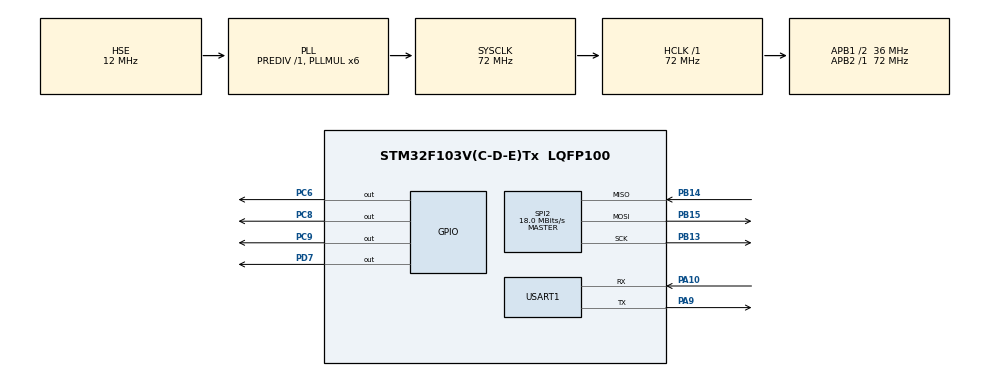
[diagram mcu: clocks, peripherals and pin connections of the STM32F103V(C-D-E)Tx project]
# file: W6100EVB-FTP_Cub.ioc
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Mcu.Family=STM32F1
Mcu.Name=STM32F103V(C-D-E)Tx
Mcu.Package=LQFP100
NVIC.PriorityGroup=NVIC_PRIORITYGROUP_4
NVIC.USART1_IRQn=true\:0\:0\:false\:false\:true\:true\:true\:true
OSC_IN.Mode=HSE-External-Oscillator
OSC_IN.Signal=RCC_OSC_IN
OSC_OUT.Mode=HSE-External-Oscillator
OSC_OUT.Signal=RCC_OSC_OUT
PA10.Mode=Asynchronous
PA10.Signal=USART1_RX
PA13.Mode=Serial_Wire
PA13.Signal=SYS_JTMS-SWDIO
PA14.Mode=Serial_Wire
PA14.Signal=SYS_JTCK-SWCLK
PA9.Mode=Asynchronous
PA9.Signal=USART1_TX
PB13.Mode=Full_Duplex_Master
PB13.Signal=SPI2_SCK
PB14.Mode=Full_Duplex_Master
PB14.Signal=SPI2_MISO
PB15.Mode=Full_Duplex_Master
PB15.Signal=SPI2_MOSI
PC6.Signal=GPIO_Output
PC8.Signal=GPIO_Output
PC9.Signal=GPIO_Output
PD7.Signal=GPIO_Output
ProjectManager.HeapSize=0x200
ProjectManager.StackSize=0x400
ProjectManager.TargetToolchain=STM32CubeIDE
RCC.AHBFreq_Value=72000000
RCC.APB1CLKDivider=RCC_HCLK_DIV2
RCC.APB1Freq_Value=36000000
RCC.APB1TimFreq_Value=72000000
RCC.APB2Freq_Value=72000000
RCC.APB2TimFreq_Value=72000000
RCC.HCLKFreq_Value=72000000
RCC.HSE_VALUE=12000000
RCC.PLLMUL=RCC_PLL_MUL6
RCC.PLLSourceVirtual=RCC_PLLSOURCE_HSE
RCC.SYSCLKFreq_VALUE=72000000
RCC.SYSCLKSource=RCC_SYSCLKSOURCE_PLLCLK
RCC.USBFreq_Value=72000000
SPI2.BaudRatePrescaler=SPI_BAUDRATEPRESCALER_2
SPI2.CalculateBaudRate=18.0 MBits/s
SPI2.Direction=SPI_DIRECTION_2LINES
SPI2.Mode=SPI_MODE_MASTER
SPI2.VirtualType=VM_MASTER
USART1.VirtualMode=VM_ASYNC
VP_RTC_VS_RTC_Activate.Mode=RTC_Enabled
board=custom

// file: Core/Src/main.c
/* USER CODE BEGIN Header */
/**
  ******************************************************************************
  * @file           : main.c
  * @brief          : Main program body
  ******************************************************************************
  * @attention
  *
  * Copyright (c) 2022 STMicroelectronics.
  * All rights reserved.
  *
  * This software is licensed under terms that can be found in the LICENSE file
  * in the root directory of this software component.
  * If no LICENSE file comes with this software, it is provided AS-IS.
  *
  ******************************************************************************
  */
/* USER CODE END Header */
#include "main.h"

/* USER CODE BEGIN Includes */

#include "wizchip_conf.h"
#include "W6100.h"

#include "ftpd.h"
#include "Application.h"
#include "wizchip_init.h"
/* USER CODE END Includes */

/* USER CODE BEGIN PTD */
#define True_STD
/* USER CODE END PTD */

RTC_HandleTypeDef hrtc;

SPI_HandleTypeDef hspi2;

UART_HandleTypeDef huart1;

/* USER CODE BEGIN PV */
wiz_NetInfo gWIZNETINFO = { .mac = {0x00,0x08,0xdc,0xff,0xff,0xff},
							.ip = {192,168,50,125},
							.sn = {255, 255, 255, 0},
							.gw = {192, 168, 0, 1},
							.dns = {168, 126, 63, 1},
							.lla = {0xfe,0x80, 0x00,0x00,
								 0x00,0x00, 0x00,0x00,
								 0x02,0x08, 0xdc,0xff,
								 0xfe,0xff, 0xff,0xff},
				            .gua={0x20,0x01,0x02,0xb8,
								 0x00,0x10,0x00,0x01,
								 0x02,0x08,0xdc,0xff,
								 0xfe,0xff,0xff,0xff},
				            .sn6={0xff,0xff,0xff,0xff,
								 0xff,0xff,0xff,0xff,
								 0x00,0x00,0x00, 0x00,
								 0x00,0x00,0x00,0x00},
				            .gw6={0xfe, 0x80, 0x00,0x00,
								  0x00,0x00,0x00,0x00,
								  0x02,0x00, 0x87,0xff,
								  0xfe,0x08, 0x4c,0x81}
							};

uint8_t WIZ_Dest_IP[4] = {192, 168, 50, 59};                  //DST_IP Address

uint8_t DestIP6_L[16] = {0xfe,0x80, 0x00,0x00,
						  0x00,0x00, 0x00,0x00,
                          0x31,0x71,0x98,0x05,
                          0x70,0x24,0x4b,0xb1
						};

uint8_t DestIP6_G[16] = {0x20,0x01,0x02,0xb8,
                          0x00,0x10,0x00,0x01,
                          0x31,0x71,0x98,0x05,
                          0x70,0x24,0x4b,0xb1
                         };

uint8_t Router_IP[16]= {0xff,0x02,0x00,0x00,
                          0x00,0x00,0x00,0x00,
                          0x00,0x00,0x00,0x00,
                          0x00,0x00,0x00,0x02
                         };
uint8_t data_buf[2048];
uint8_t gFTPBUF[_FTP_MAX_MSG_SIZE_];
void print_network_information(void);
/* USER CODE END PV */

void SystemClock_Config(void);
static void MX_GPIO_Init(void);
static void MX_RTC_Init(void);
static void MX_SPI2_Init(void);
static void MX_USART1_UART_Init(void);
/* USER CODE BEGIN PFP */
uint8_t rxData[2];
#ifdef KEIL
     #ifdef __GNUC__
     //With GCC, small printf (option LD Linker->Libraries->Small printf
     //set to 'Yes') calls __io_putchar()
         #define PUTCHAR_PROTOTYPE int __io_putchar(int ch)
		#else
				 #define PUTCHAR_PROTOTYPE int fputc(int ch, FILE *f)
		#endif /* __GNUC__*/
#endif

#ifdef True_STD
	int _write(int fd, char *str, int len)
	{
		for(int i=0; i<len; i++)
		{
			HAL_UART_Transmit(&huart1, (uint8_t *)&str[i], 1, 0xFFFF);
		}
		return len;
	}
#endif

void HAL_UART_RxCpltCallback(UART_HandleTypeDef *huart) {

    /*
        This will be called once data is received successfully,
        via interrupts.
    */

     /*
       loop back received data
     */
     HAL_UART_Receive_IT(&huart1, rxData, 1);
     HAL_UART_Transmit(&huart1, rxData, 1, 1000);
}
/* USER CODE END PFP */

int main(void)
{
  /* USER CODE BEGIN 1 */
  uint8_t syslock = SYS_NET_LOCK;
  uint8_t LED = 0;
  uint16_t LED_count = 0;
  /* USER CODE END 1 */

  /* MCU Configuration--------------------------------------------------------*/

  /* Reset of all peripherals, Initializes the Flash interface and the Systick. */
  HAL_Init();

  /* Configure the system clock */
  SystemClock_Config();

  /* Initialize all configured peripherals */
  MX_GPIO_Init();
  MX_RTC_Init();
  MX_SPI2_Init();
  MX_USART1_UART_Init();
  /* USER CODE BEGIN 2 */
  HAL_UART_Receive_IT(&huart1, rxData, 1);

  printf("< W6100EVB Hal Driver FTP TEST!! >\n");
  HAL_GPIO_WritePin(GPIOC, GPIO_PIN_6, GPIO_PIN_SET);
  HAL_GPIO_WritePin(GPIOC, GPIO_PIN_8, GPIO_PIN_SET);
  HAL_GPIO_WritePin(GPIOC, GPIO_PIN_9, GPIO_PIN_SET);
  W6100Initialze();
  ctlwizchip(CW_SYS_UNLOCK,& syslock);
  ctlnetwork(CN_SET_NETINFO,&gWIZNETINFO);

  printf("VERSION(%x) = %.2x \r\n", _VER_,getVER());
  print_network_information();
  ftpd_init("user10", "pass10", 21);
  /* USER CODE END 2 */

  /* Infinite loop */
  /* USER CODE BEGIN WHILE */
  while (1)
  {
	  ftpd_run(gFTPBUF);
	  if(LED_count > 2000)
	  {
		  LED_count = 0;
		  if(LED == 0)
		  {
			  HAL_GPIO_WritePin(GPIOC, GPIO_PIN_6, GPIO_PIN_SET);
		  }
		  else
		  {
			  HAL_GPIO_WritePin(GPIOC, GPIO_PIN_6, GPIO_PIN_RESET);
		  }
	  }
	  LED_count++;
    /* USER CODE END WHILE */

  }
}

void SystemClock_Config(void)
{
  RCC_OscInitTypeDef RCC_OscInitStruct = {0};
  RCC_ClkInitTypeDef RCC_ClkInitStruct = {0};
  RCC_PeriphCLKInitTypeDef PeriphClkInit = {0};

  /** Initializes the RCC Oscillators according to the specified parameters
  * in the RCC_OscInitTypeDef structure.
  */
  RCC_OscInitStruct.OscillatorType = RCC_OSCILLATORTYPE_LSI|RCC_OSCILLATORTYPE_HSE;
  RCC_OscInitStruct.HSEState = RCC_HSE_ON;
  RCC_OscInitStruct.HSEPredivValue = RCC_HSE_PREDIV_DIV1;
  RCC_OscInitStruct.HSIState = RCC_HSI_ON;
  RCC_OscInitStruct.LSIState = RCC_LSI_ON;
  RCC_OscInitStruct.PLL.PLLState = RCC_PLL_ON;
  RCC_OscInitStruct.PLL.PLLSource = RCC_PLLSOURCE_HSE;
  RCC_OscInitStruct.PLL.PLLMUL = RCC_PLL_MUL6;
  if (HAL_RCC_OscConfig(&RCC_OscInitStruct) != HAL_OK)
  {
    Error_Handler();
  }

  /** Initializes the CPU, AHB and APB buses clocks
  */
  RCC_ClkInitStruct.ClockType = RCC_CLOCKTYPE_HCLK|RCC_CLOCKTYPE_SYSCLK
                              |RCC_CLOCKTYPE_PCLK1|RCC_CLOCKTYPE_PCLK2;
  RCC_ClkInitStruct.SYSCLKSource = RCC_SYSCLKSOURCE_PLLCLK;
  RCC_ClkInitStruct.AHBCLKDivider = RCC_SYSCLK_DIV1;
  RCC_ClkInitStruct.APB1CLKDivider = RCC_HCLK_DIV2;
  RCC_ClkInitStruct.APB2CLKDivider = RCC_HCLK_DIV1;

  if (HAL_RCC_ClockConfig(&RCC_ClkInitStruct, FLASH_LATENCY_2) != HAL_OK)
  {
    Error_Handler();
  }
  PeriphClkInit.PeriphClockSelection = RCC_PERIPHCLK_RTC;
  PeriphClkInit.RTCClockSelection = RCC_RTCCLKSOURCE_LSI;
  if (HAL_RCCEx_PeriphCLKConfig(&PeriphClkInit) != HAL_OK)
  {
    Error_Handler();
  }
}

static void MX_RTC_Init(void)
{

  /** Initialize RTC Only
  */
  hrtc.Instance = RTC;
  hrtc.Init.AsynchPrediv = RTC_AUTO_1_SECOND;
  hrtc.Init.OutPut = RTC_OUTPUTSOURCE_ALARM;
  if (HAL_RTC_Init(&hrtc) != HAL_OK)
  {
    Error_Handler();
  }

}

static void MX_SPI2_Init(void)
{

  /* SPI2 parameter configuration*/
  hspi2.Instance = SPI2;
  hspi2.Init.Mode = SPI_MODE_MASTER;
  hspi2.Init.Direction = SPI_DIRECTION_2LINES;
  hspi2.Init.DataSize = SPI_DATASIZE_8BIT;
  hspi2.Init.CLKPolarity = SPI_POLARITY_LOW;
  hspi2.Init.CLKPhase = SPI_PHASE_1EDGE;
  hspi2.Init.NSS = SPI_NSS_SOFT;
  hspi2.Init.BaudRatePrescaler = SPI_BAUDRATEPRESCALER_2;
  hspi2.Init.FirstBit = SPI_FIRSTBIT_MSB;
  hspi2.Init.TIMode = SPI_TIMODE_DISABLE;
  hspi2.Init.CRCCalculation = SPI_CRCCALCULATION_DISABLE;
  hspi2.Init.CRCPolynomial = 10;
  if (HAL_SPI_Init(&hspi2) != HAL_OK)
  {
    Error_Handler();
  }

}

static void MX_USART1_UART_Init(void)
{

  huart1.Instance = USART1;
  huart1.Init.BaudRate = 115200;
  huart1.Init.WordLength = UART_WORDLENGTH_8B;
  huart1.Init.StopBits = UART_STOPBITS_1;
  huart1.Init.Parity = UART_PARITY_NONE;
  huart1.Init.Mode = UART_MODE_TX_RX;
  huart1.Init.HwFlowCtl = UART_HWCONTROL_NONE;
  huart1.Init.OverSampling = UART_OVERSAMPLING_16;
  if (HAL_UART_Init(&huart1) != HAL_OK)
  {
    Error_Handler();
  }

}

static void MX_GPIO_Init(void)
{
  GPIO_InitTypeDef GPIO_InitStruct = {0};

  /* GPIO Ports Clock Enable */
  __HAL_RCC_GPIOB_CLK_ENABLE();
  __HAL_RCC_GPIOC_CLK_ENABLE();
  __HAL_RCC_GPIOA_CLK_ENABLE();
  __HAL_RCC_GPIOD_CLK_ENABLE();

  /*Configure GPIO pin Output Level */
  HAL_GPIO_WritePin(GPIOC, GPIO_PIN_6|GPIO_PIN_8|GPIO_PIN_9, GPIO_PIN_RESET);

  /*Configure GPIO pin Output Level */
  HAL_GPIO_WritePin(GPIOD, GPIO_PIN_7, GPIO_PIN_RESET);

  /*Configure GPIO pins : PC6 PC8 PC9 */
  GPIO_InitStruct.Pin = GPIO_PIN_6|GPIO_PIN_8|GPIO_PIN_9;
  GPIO_InitStruct.Mode = GPIO_MODE_OUTPUT_PP;
  GPIO_InitStruct.Pull = GPIO_NOPULL;
  GPIO_InitStruct.Speed = GPIO_SPEED_FREQ_LOW;
  HAL_GPIO_Init(GPIOC, &GPIO_InitStruct);

  /*Configure GPIO pin : PD7 */
  GPIO_InitStruct.Pin = GPIO_PIN_7;
  GPIO_InitStruct.Mode = GPIO_MODE_OUTPUT_PP;
  GPIO_InitStruct.Pull = GPIO_NOPULL;
  GPIO_InitStruct.Speed = GPIO_SPEED_FREQ_LOW;
  HAL_GPIO_Init(GPIOD, &GPIO_InitStruct);

}

/* USER CODE BEGIN 4 */
#ifdef KEIL
	PUTCHAR_PROTOTYPE
 {
		HAL_UART_Transmit(&huart1, (uint8_t *)&ch, 1, 0xFFFF);

		return ch;
 }
#endif
void print_network_information(void)
{
	wizchip_getnetinfo(&gWIZNETINFO);
	printf("Mac address: %02x:%02x:%02x:%02x:%02x:%02x\n\r",gWIZNETINFO.mac[0],gWIZNETINFO.mac[1],gWIZNETINFO.mac[2],gWIZNETINFO.mac[3],gWIZNETINFO.mac[4],gWIZNETINFO.mac[5]);
	printf("IP address : %d.%d.%d.%d\n\r",gWIZNETINFO.ip[0],gWIZNETINFO.ip[1],gWIZNETINFO.ip[2],gWIZNETINFO.ip[3]);
	printf("SN Mask	   : %d.%d.%d.%d\n\r",gWIZNETINFO.sn[0],gWIZNETINFO.sn[1],gWIZNETINFO.sn[2],gWIZNETINFO.sn[3]);
	printf("Gate way   : %d.%d.%d.%d\n\r",gWIZNETINFO.gw[0],gWIZNETINFO.gw[1],gWIZNETINFO.gw[2],gWIZNETINFO.gw[3]);
	printf("DNS Server : %d.%d.%d.%d\n\r",gWIZNETINFO.dns[0],gWIZNETINFO.dns[1],gWIZNETINFO.dns[2],gWIZNETINFO.dns[3]);
	printf("LLA  : %.2X%.2X:%.2X%.2X:%.2X%.2X:%.2X%.2X:%.2X%.2X:%.2X%.2X:%.2X%.2X:%.2X%.2X\r\n",gWIZNETINFO.lla[0],gWIZNETINFO.lla[1],gWIZNETINFO.lla[2],gWIZNETINFO.lla[3],\
									gWIZNETINFO.lla[4],gWIZNETINFO.lla[5],gWIZNETINFO.lla[6],gWIZNETINFO.lla[7],\
									gWIZNETINFO.lla[8],gWIZNETINFO.lla[9],gWIZNETINFO.lla[10],gWIZNETINFO.lla[11],\
									gWIZNETINFO.lla[12],gWIZNETINFO.lla[13],gWIZNETINFO.lla[14],gWIZNETINFO.lla[15]);
	printf("GUA  : %.2X%.2X:%.2X%.2X:%.2X%.2X:%.2X%.2X:%.2X%.2X:%.2X%.2X:%.2X%.2X:%.2X%.2X\n\r",gWIZNETINFO.gua[0],gWIZNETINFO.gua[1],gWIZNETINFO.gua[2],gWIZNETINFO.gua[3],\
									gWIZNETINFO.gua[4],gWIZNETINFO.gua[5],gWIZNETINFO.gua[6],gWIZNETINFO.gua[7],\
									gWIZNETINFO.gua[8],gWIZNETINFO.gua[9],gWIZNETINFO.gua[10],gWIZNETINFO.gua[11],\
									gWIZNETINFO.gua[12],gWIZNETINFO.gua[13],gWIZNETINFO.gua[14],gWIZNETINFO.gua[15]);
	printf("SN6  : %.2X%.2X:%.2X%.2X:%.2X%.2X:%.2X%.2X:%.2X%.2X:%.2X%.2X:%.2X%.2X:%.2X%.2X\n\r",gWIZNETINFO.sn6[0],gWIZNETINFO.sn6[1],gWIZNETINFO.sn6[2],gWIZNETINFO.sn6[3],\
									gWIZNETINFO.sn6[4],gWIZNETINFO.sn6[5],gWIZNETINFO.sn6[6],gWIZNETINFO.sn6[7],\
									gWIZNETINFO.sn6[8],gWIZNETINFO.sn6[9],gWIZNETINFO.sn6[10],gWIZNETINFO.sn6[11],\
									gWIZNETINFO.sn6[12],gWIZNETINFO.sn6[13],gWIZNETINFO.sn6[14],gWIZNETINFO.sn6[15]);
	printf("GW6  : %.2X%.2X:%.2X%.2X:%.2X%.2X:%.2X%.2X:%.2X%.2X:%.2X%.2X:%.2X%.2X:%.2X%.2X\r\n",gWIZNETINFO.gw6[0],gWIZNETINFO.gw6[1],gWIZNETINFO.gw6[2],gWIZNETINFO.gw6[3],\
									gWIZNETINFO.gw6[4],gWIZNETINFO.gw6[5],gWIZNETINFO.gw6[6],gWIZNETINFO.gw6[7],\
									gWIZNETINFO.gw6[8],gWIZNETINFO.gw6[9],gWIZNETINFO.gw6[10],gWIZNETINFO.gw6[11],\
									gWIZNETINFO.gw6[12],gWIZNETINFO.gw6[13],gWIZNETINFO.gw6[14],gWIZNETINFO.gw6[15]);

}
/* USER CODE END 4 */

void Error_Handler(void)
{
  __disable_irq();
  while (1)
  {
  }
}
